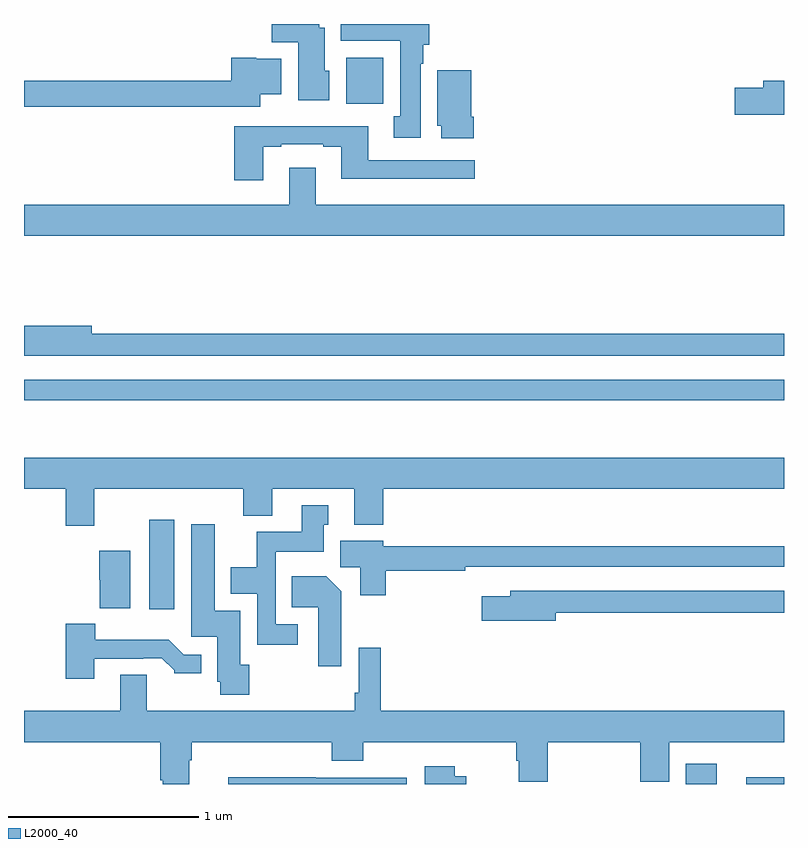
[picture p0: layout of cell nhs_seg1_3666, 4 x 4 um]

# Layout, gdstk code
import gdstk
lib = gdstk.Library(unit=1e-6, precision=1e-09)
def R(c, l, rs):  # rectangles x0, y0, x1, y1
    for r in rs: c.add(gdstk.rectangle(r[:2], r[2:], *l))
def P(c, l, *ps):  # polygons
    for p in ps: c.add(gdstk.Polygon(p, *l))
L2000_40 = (2000, 40)

nhs_seg1_3666 = lib.new_cell('nhs_seg1_3666')
R(nhs_seg1_3666, L2000_40, [(314.484,530.199,314.645,530.305), (314.802,530.199,315,530.234), (311.66,531.12,311.791,531.589), (311,532.218,315,532.326), (312.695,533.78,312.892,534.022)])
P(nhs_seg1_3666, L2000_40, [(313.087,533.99),(313.102,533.99),(313.102,534.09),(313.132,534.09),(313.132,534.199),(312.668,534.199),(312.668,534.11),(312.98,534.11),(312.98,533.714),(312.947,533.714),(312.947,533.601),(313.087,533.601)],
  [(312.607,533.952),(312.583,533.952),(312.583,534.178),(312.553,534.178),(312.553,534.199),(312.304,534.199),(312.304,534.104),(312.443,534.104),(312.443,533.798),(312.607,533.798)],
  [(312.244,533.828),(312.355,533.828),(312.355,534.016),(312.222,534.016),(312.222,534.022),(312.092,534.022),(312.092,533.9),(311,533.9),(311,533.764),(312.244,533.764)],
  [(313.367,533.71),(313.354,533.71),(313.354,533.956),(313.175,533.956),(313.175,533.664),(313.196,533.664),(313.196,533.598),(313.367,533.598)],
  [(315,533.9),(314.891,533.9),(314.891,533.864),(314.742,533.864),(314.742,533.722),(315,533.722)],
  [(312.259,533.553),(312.355,533.553),(312.355,533.565),(312.575,533.565),(312.575,533.553),(312.671,533.553),(312.671,533.384),(313.372,533.384),(313.372,533.481),(312.811,533.481),(312.811,533.662),(312.107,533.662),(312.107,533.376),(312.259,533.376)],
  [(315,533.248),(312.535,533.248),(312.535,533.443),(312.395,533.443),(312.395,533.248),(311,533.248),(311,533.084),(315,533.084)],
  [(315,532.568),(311.356,532.568),(311.356,532.611),(311,532.611),(311,532.452),(315,532.452)],
  [(311.371,531.752),(312.155,531.752),(312.155,531.611),(312.307,531.611),(312.307,531.752),(312.737,531.752),(312.737,531.563),(312.89,531.563),(312.89,531.752),(315,531.752),(315,531.916),(311,531.916),(311,531.752),(311.219,531.752),(311.219,531.558),(311.371,531.558)],
  [(312.442,531.039),(312.324,531.039),(312.324,531.422),(312.577,531.422),(312.577,531.564),(312.601,531.564),(312.601,531.667),(312.461,531.667),(312.461,531.526),(312.226,531.526),(312.226,531.34),(312.089,531.34),(312.089,531.2),(312.228,531.2),(312.228,530.931),(312.442,530.931)],
  [(312.186,530.826),(312.139,530.826),(312.139,531.112),(312.004,531.112),(312.004,531.565),(311.879,531.565),(311.879,530.973),(312.017,530.973),(312.017,530.736),(312.034,530.736),(312.034,530.67),(312.186,530.67)],
  [(312.905,531.322),(313.322,531.322),(313.322,531.342),(315,531.342),(315,531.451),(312.892,531.451),(312.892,531.478),(312.665,531.478),(312.665,531.34),(312.77,531.34),(312.77,531.192),(312.905,531.192)],
  [(311.56,531.427),(311.396,531.427),(311.396,531.273),(311.398,531.273),(311.398,531.125),(311.56,531.125)],
  [(312.67,531.214),(312.592,531.292),(312.409,531.292),(312.409,531.128),(312.548,531.128),(312.548,530.82),(312.67,530.82)],
  [(313.798,531.1),(315,531.1),(315,531.216),(313.559,531.216),(313.559,531.187),(313.41,531.187),(313.41,531.058),(313.798,531.058)],
  [(311.371,530.859),(311.627,530.859),(311.627,530.862),(311.726,530.862),(311.79,530.798),(311.79,530.783),(311.932,530.783),(311.932,530.88),(311.841,530.88),(311.763,530.959),(311.374,530.959),(311.374,531.043),(311.219,531.043),(311.219,530.754),(311.371,530.754)],
  [(311.869,530.324),(311.882,530.324),(311.882,530.42),(312.62,530.42),(312.62,530.321),(312.785,530.321),(312.785,530.42),(313.592,530.42),(313.592,530.322),(313.604,530.322),(313.604,530.212),(313.757,530.212),(313.757,530.42),(314.243,530.42),(314.243,530.212),(314.395,530.212),(314.395,530.42),(315,530.42),(315,530.584),(312.878,530.584),(312.878,530.917),(312.762,530.917),(312.762,530.68),(312.742,530.68),(312.742,530.584),(311.647,530.584),(311.647,530.774),(311.507,530.774),(311.507,530.584),(311,530.584),(311,530.42),(311.717,530.42),(311.717,530.218),(311.729,530.218),(311.729,530.199),(311.869,530.199)],
  [(313.328,530.241),(313.266,530.241),(313.266,530.293),(313.11,530.293),(313.11,530.199),(313.328,530.199)],
  [(313.014,530.232),(312.536,530.232),(312.536,530.234),(312.074,530.234),(312.074,530.199),(313.014,530.199)])

lib.write_gds('nhs_seg1_3666.gds')
